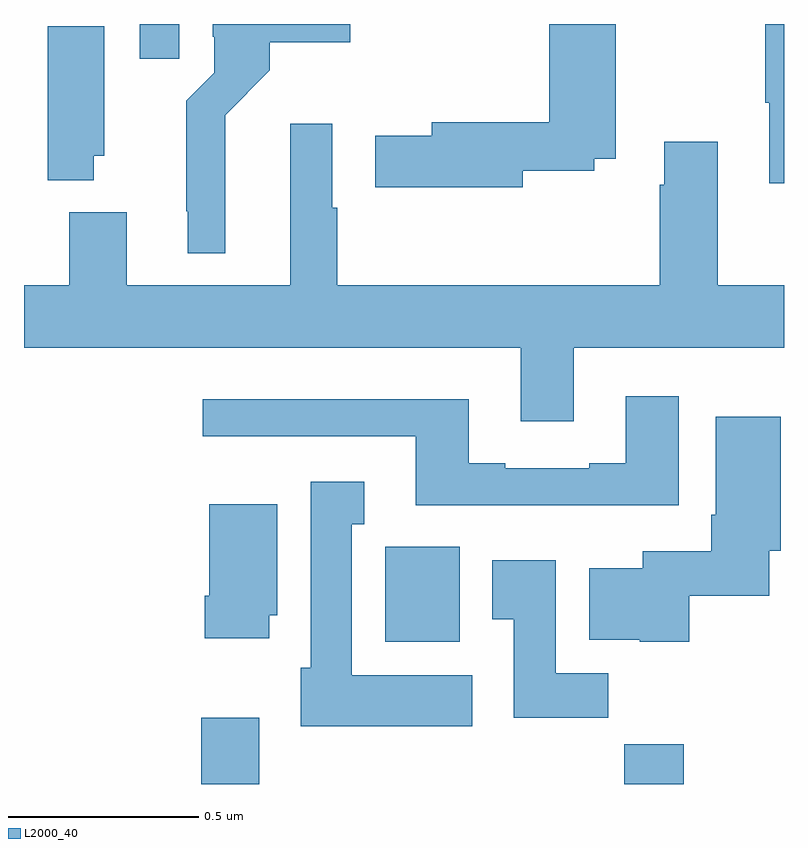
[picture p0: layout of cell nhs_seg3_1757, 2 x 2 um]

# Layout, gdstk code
import gdstk
lib = gdstk.Library(unit=1e-6, precision=1e-09)
def R(c, l, rs):  # rectangles x0, y0, x1, y1
    for r in rs: c.add(gdstk.rectangle(r[:2], r[2:], *l))
def P(c, l, *ps):  # polygons
    for p in ps: c.add(gdstk.Polygon(p, *l))
L2000_40 = (2000, 40)

nhs_seg3_1757 = lib.new_cell('nhs_seg3_1757')
R(nhs_seg3_1757, L2000_40, [(132.467,734.4,132.619,734.575), (133.579,734.4,133.736,734.504), (132.951,734.774,133.147,735.024), (132.305,736.308,132.409,736.4)])
P(nhs_seg3_1757, L2000_40, [(133.312,736.014),(133.5,736.014),(133.5,736.046),(133.557,736.046),(133.557,736.4),(133.382,736.4),(133.382,736.142),(133.073,736.142),(133.073,736.106),(132.924,736.106),(132.924,735.971),(133.312,735.971)],
  [(132.529,736.16),(132.647,736.278),(132.647,736.352),(132.859,736.352),(132.859,736.4),(132.497,736.4),(132.497,736.366),(132.501,736.366),(132.501,736.272),(132.427,736.198),(132.427,735.907),(132.431,735.907),(132.431,735.797),(132.529,735.797)],
  [(134,736.4),(133.95,736.4),(133.95,736.193),(133.961,736.193),(133.961,735.981),(134,735.981)],
  [(132.184,736.053),(132.211,736.053),(132.211,736.394),(132.062,736.394),(132.062,735.989),(132.184,735.989)],
  [(133.447,735.548),(134,735.548),(134,735.712),(133.825,735.712),(133.825,736.09),(133.685,736.09),(133.685,735.977),(133.673,735.977),(133.673,735.712),(132.824,735.712),(132.824,735.917),(132.811,735.917),(132.811,736.138),(132.701,736.138),(132.701,735.712),(132.271,735.712),(132.271,735.904),(132.119,735.904),(132.119,735.712),(132,735.712),(132,735.548),(133.307,735.548),(133.307,735.354),(133.447,735.354)],
  [(133.723,735.421),(133.583,735.421),(133.583,735.244),(133.487,735.244),(133.487,735.231),(133.267,735.231),(133.267,735.244),(133.171,735.244),(133.171,735.412),(132.471,735.412),(132.471,735.315),(133.031,735.315),(133.031,735.134),(133.723,735.134)],
  [(133.751,734.896),(133.961,734.896),(133.961,735.014),(133.991,735.014),(133.991,735.367),(133.82,735.367),(133.82,735.109),(133.808,735.109),(133.808,735.012),(133.628,735.012),(133.628,734.968),(133.487,734.968),(133.487,734.78),(133.62,734.78),(133.62,734.774),(133.751,734.774)],
  [(133.18,734.686),(132.862,734.686),(132.862,735.083),(132.895,735.083),(132.895,735.196),(132.755,735.196),(132.755,734.706),(132.728,734.706),(132.728,734.552),(133.18,734.552)],
  [(132.646,734.844),(132.667,734.844),(132.667,735.136),(132.488,735.136),(132.488,734.896),(132.476,734.896),(132.476,734.784),(132.646,734.784)],
  [(133.538,734.692),(133.399,734.692),(133.399,734.989),(133.232,734.989),(133.232,734.833),(133.289,734.833),(133.289,734.574),(133.538,734.574)])

lib.write_gds('nhs_seg3_1757.gds')
